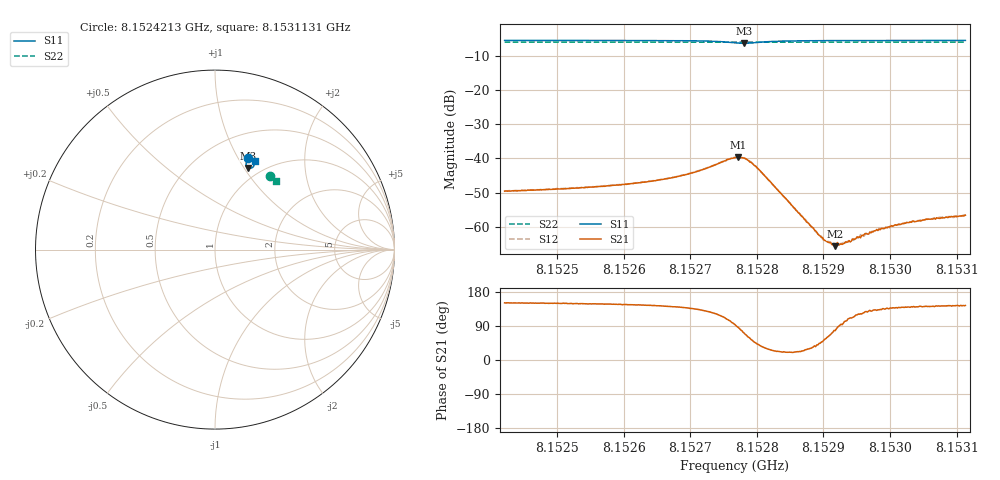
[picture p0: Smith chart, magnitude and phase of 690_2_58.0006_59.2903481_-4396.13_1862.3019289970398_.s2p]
#  HZ  S  RI  R  50.00
! Rohde & Schwarz Vector Network Analyzer
! Rohde-Schwarz,ZNB20-2Port,1311601062101988,3.16
! Created: UTC 3/21/2024, 1:21:14 AM
! freq[Hz]  re:S11  im:S11  re:S21  im:S21  re:S12  im:S12  re:S22  im:S22
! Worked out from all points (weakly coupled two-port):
!   401 points, 8.1524213 GHz to 8.1531131 GHz, reference 50 ohm
!   highest |S21| = -39.60 dB at 8.1527724 GHz (marker M1); lowest = -65.8 dB at 8.1529177 GHz (marker M2)
!   lowest |S11| = -6.2 dB at 8.152781 GHz (marker M3), VSWR 2.94, Z = 43.6 + j52.4 ohm
!   |S11| at or under -10 dB: nowhere
!   |S22| runs from -5.9 to -5.8 dB; largest |S21 - S12| = 0.00036
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8.15242125e9  0.1853 0.5078  -0.00289 0.00162  -0.00291 0.00165  0.3071 0.4087
8.15253714e9  0.1948 0.5041  -0.0032 0.00194  -0.00316 0.00201  0.3131 0.404
8.1526046e9  0.2012 0.501  -0.00347 0.00231  -0.00348 0.0024  0.3164 0.4012
8.15265304e9  0.2067 0.4975  -0.00388 0.0029  -0.00383 0.00299  0.3187 0.3992
8.15270666e9  0.2146 0.4892  -0.00444 0.00444  -0.00441 0.00458  0.3214 0.3966
8.1527672e9  0.2053 0.4554  -0.000618 0.0103  -0.000355 0.0103  0.3234 0.3932
8.15277239e9  0.1987 0.4534  0.000847 0.0104  0.00116 0.0104  0.3233 0.3932
8.15278103e9  0.1865 0.4552  0.00334 0.00957  0.00351 0.00945  0.3234 0.3931
8.15278968e9  0.1773 0.463  0.00474 0.00742  0.00504 0.00759  0.3237 0.3931
8.15280006e9  0.1731 0.4745  0.00542 0.00499  0.00538 0.00492  0.3242 0.3931
8.15288309e9  0.1965 0.4992  0.000819 0.00053  0.000818 0.000524  0.3289 0.3903
8.15289693e9  0.199 0.4992  0.000469 0.000509  0.000487 0.000532  0.3298 0.3899
8.15290385e9  0.2003 0.4991  0.000338 0.000515  0.000319 0.000528  0.3302 0.3895
8.15291422e9  0.2018 0.499  0.000153 0.000515  0.000145 0.000543  0.3307 0.389
8.15291768e9  0.2023 0.4989  0.000111 0.000503  0.000104 0.000528  0.331 0.3888
8.15292633e9  0.2034 0.4987  -4.33e-05 0.000552  -4.51e-05 0.000563  0.3313 0.3885
8.15296093e9  0.2076 0.498  -0.000435 0.000625  -0.000419 0.000589  0.3331 0.3869
8.15298341e9  0.21 0.4975  -0.000617 0.000677  -0.000632 0.000698  0.3342 0.386
8.15299898e9  0.2116 0.4972  -0.000705 0.000686  -0.000701 0.000653  0.3349 0.3855
8.15301628e9  0.2133 0.4965  -0.000808 0.000713  -0.000852 0.000737  0.3358 0.3846
8.15305433e9  0.2164 0.4954  -0.00101 0.000791  -0.00101 0.000813  0.3377 0.3829
8.15311314e9  0.2213 0.4937  -0.00119 0.000866  -0.00119 0.000897  0.3403 0.3804
